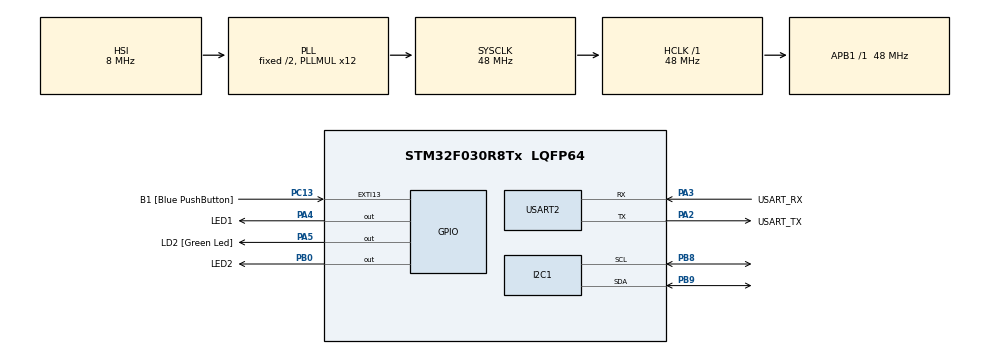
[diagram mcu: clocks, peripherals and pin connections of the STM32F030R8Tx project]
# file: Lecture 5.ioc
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Dma.Request0=USART2_RX
Dma.USART2_RX.0.Direction=DMA_PERIPH_TO_MEMORY
Dma.USART2_RX.0.Instance=DMA1_Channel5
Dma.USART2_RX.0.MemDataAlignment=DMA_MDATAALIGN_BYTE
Dma.USART2_RX.0.MemInc=DMA_MINC_ENABLE
Dma.USART2_RX.0.Mode=DMA_CIRCULAR
Dma.USART2_RX.0.PeriphDataAlignment=DMA_PDATAALIGN_BYTE
Dma.USART2_RX.0.PeriphInc=DMA_PINC_DISABLE
Dma.USART2_RX.0.Priority=DMA_PRIORITY_LOW
I2C1.Timing=0x00201D2B
Mcu.Family=STM32F0
Mcu.Name=STM32F030R8Tx
Mcu.Package=LQFP64
NVIC.DMA1_Channel4_5_IRQn=true\:0\:0\:false\:false\:true\:false\:true\:true
PA13.GPIO_Label=TMS
PA13.Mode=Serial_Wire
PA13.Signal=SYS_SWDIO
PA14.GPIO_Label=TCK
PA14.Mode=Serial_Wire
PA14.Signal=SYS_SWCLK
PA2.GPIO_Label=USART_TX
PA2.GPIO_Mode=GPIO_MODE_AF_PP
PA2.GPIO_PuPd=GPIO_NOPULL
PA2.GPIO_Speed=GPIO_SPEED_FREQ_LOW
PA2.Mode=Asynchronous
PA2.Signal=USART2_TX
PA3.GPIO_Label=USART_RX
PA3.GPIO_Mode=GPIO_MODE_AF_PP
PA3.GPIO_PuPd=GPIO_NOPULL
PA3.GPIO_Speed=GPIO_SPEED_FREQ_LOW
PA3.Mode=Asynchronous
PA3.Signal=USART2_RX
PA4.GPIO_Label=LED1
PA4.Signal=GPIO_Output
PA5.GPIO_Label=LD2 [Green Led]
PA5.GPIO_Mode=GPIO_MODE_OUTPUT_PP
PA5.GPIO_PuPd=GPIO_NOPULL
PA5.GPIO_Speed=GPIO_SPEED_FREQ_LOW
PA5.Signal=GPIO_Output
PB0.GPIO_Label=LED2
PB0.Signal=GPIO_Output
PB8.Mode=I2C
PB8.Signal=I2C1_SCL
PB9.Mode=I2C
PB9.Signal=I2C1_SDA
PC13.GPIO_Label=B1 [Blue PushButton]
PC13.GPIO_ModeDefaultEXTI=GPIO_MODE_IT_FALLING
PC13.Signal=GPXTI13
PC14-OSC32_IN.Mode=LSE-External-Oscillator
PC14-OSC32_IN.Signal=RCC_OSC32_IN
PC15-OSC32_OUT.Mode=LSE-External-Oscillator
PC15-OSC32_OUT.Signal=RCC_OSC32_OUT
PF0-OSC_IN.Mode=HSE-External-Clock-Source
PF0-OSC_IN.Signal=RCC_OSC_IN
PF1-OSC_OUT.Signal=RCC_OSC_OUT
ProjectManager.HeapSize=0x200
ProjectManager.StackSize=0x400
ProjectManager.TargetToolchain=STM32CubeIDE
RCC.AHBFreq_Value=48000000
RCC.APB1Freq_Value=48000000
RCC.APB1TimFreq_Value=48000000
RCC.HCLKFreq_Value=48000000
RCC.PLLMUL=RCC_PLL_MUL12
RCC.SYSCLKFreq_VALUE=48000000
RCC.SYSCLKSource=RCC_SYSCLKSOURCE_PLLCLK
USART2.VirtualMode-Asynchronous=VM_ASYNC
board=NUCLEO-F030R8

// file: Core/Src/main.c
/* USER CODE BEGIN Header */
/**
  ******************************************************************************
  * @file           : main.c
  * @brief          : Main program body
  ******************************************************************************
  * @attention
  *
  * Copyright (c) 2024 STMicroelectronics.
  * All rights reserved.
  *
  * This software is licensed under terms that can be found in the LICENSE file
  * in the root directory of this software component.
  * If no LICENSE file comes with this software, it is provided AS-IS.
  *
  ******************************************************************************
  */
/* USER CODE END Header */
#include "main.h"

/* USER CODE BEGIN Includes */
#include <stdio.h>
#include <string.h>
#include <stdlib.h>
/* USER CODE END Includes */

/* USER CODE BEGIN PD */
#define RX_BUF_LEN 64
#define CMD_BUF_LEN 64
#define uart_rx_write_ptr (RX_BUF_LEN - hdma_usart2_rx.Instance->CNDTR)
#define EEPROM_ADDR 0xA0
/* USER CODE END PD */

I2C_HandleTypeDef hi2c1;

UART_HandleTypeDef huart2;
DMA_HandleTypeDef hdma_usart2_rx;

/* USER CODE BEGIN PV */
static uint8_t uart_rx_buf[RX_BUF_LEN];
static volatile uint16_t uart_rx_read_ptr = 0;
/* USER CODE END PV */

void SystemClock_Config(void);
static void MX_GPIO_Init(void);
static void MX_DMA_Init(void);
static void MX_USART2_UART_Init(void);
static void MX_I2C1_Init(void);

/* USER CODE BEGIN 0 */

int _write(int file, char const *buf, int n) {
	HAL_UART_Transmit(&huart2, (uint8_t*)(buf), n, HAL_MAX_DELAY);
	return n;
}

static void uart_process_command(const char* data) {

	// printf("prijato: '%s'\n", data);

	char *token;
	token = strtok(data, " ");

	if (strcasecmp(token, "HELLO") == 0) {
		printf("Komunikace OK\n");

	} else if (strcasecmp(token, "LED1") == 0) {
		token = strtok(NULL, " ");

		if (strcasecmp(token, "ON") == 0)
		{
			HAL_GPIO_WritePin(LED1_GPIO_Port, LED1_Pin, 1);

		}
		else if (strcasecmp(token, "OFF")==0) {
			HAL_GPIO_WritePin(LED1_GPIO_Port, LED1_Pin, 0);
		}
		else {

			printf("ERROR\n");
		}

	}
	else if (strcasecmp(token, "LED2") == 0) {
		token = strtok(NULL, " ");

		if (strcasecmp(token, "ON") == 0) {
			HAL_GPIO_WritePin(LED2_GPIO_Port, LED2_Pin, 1);

		} else if (strcasecmp(token, "OFF")==0) {
			HAL_GPIO_WritePin(LED2_GPIO_Port, LED2_Pin, 0);
		} else {

			printf("ERROR\n");
		}

	} else if (strcasecmp(token, "STATUS") == 0) {
		uint8_t led1stat;
		uint8_t led2stat;
		token = strtok(NULL, " ");

		led1stat = HAL_GPIO_ReadPin(LED1_GPIO_Port, LED1_Pin);
		printf("LED1 is: %d  \n", led1stat);

		led2stat = HAL_GPIO_ReadPin(LED2_GPIO_Port, LED1_Pin);
		printf("LED2 is: %d  \n", led2stat);

	} else if (strcasecmp(token, "READ") == 0) {
		token = strtok(NULL, " ");
		uint8_t value;
		uint16_t addr = atoi(token);

		HAL_I2C_Mem_Read(&hi2c1, EEPROM_ADDR, addr, I2C_MEMADD_SIZE_16BIT, &value, sizeof(value), 1000);
		printf("Addr 0x%02X: 0x%02X\n", addr, value);

	} else if (strcasecmp(token, "WRITE") == 0) {
		token = strtok(NULL, " ");
		uint8_t value;
		uint16_t addr = atoi(token);
		token = strtok(NULL, " ");
		value = atoi(token);

		HAL_I2C_Mem_Write(&hi2c1, EEPROM_ADDR, addr, I2C_MEMADD_SIZE_16BIT, &value, 1, 1000);
		while (HAL_I2C_IsDeviceReady(&hi2c1, EEPROM_ADDR, 300, 1000) == HAL_TIMEOUT) {}
		printf("OK \n");

	} else if (strcasecmp(token, "DUMP") == 0) {
		token = strtok(NULL, " ");
		uint8_t value_dump[16];
		uint16_t addr = atoi(token);

		for(uint8_t i=0; i<16; i++) {
			HAL_I2C_Mem_Read(&hi2c1, EEPROM_ADDR, i, I2C_MEMADD_SIZE_16BIT, &value_dump[i], 1, 1000);
		}

		for(int j=1; j<=2; j++) {
			for(int k=1; k< 9; k++) {
				printf(" %02x", value_dump[j*k-1]);
			}
			printf("\n");
		}

	}
}

static void uart_byte_available(uint8_t c)
{
	static uint16_t cnt;
	static char data[CMD_BUF_LEN];
	if (cnt < CMD_BUF_LEN && c >= 32 && c <= 126) data[cnt++] = c;
	if ((c == '\n' || c == '\r') && cnt > 0) {
		data[cnt] = '\0';
		uart_process_command(data);
		cnt = 0;
	}
}

/* USER CODE END 0 */

int main(void)
{

  /* MCU Configuration--------------------------------------------------------*/

  /* Reset of all peripherals, Initializes the Flash interface and the Systick. */
  HAL_Init();

  /* Configure the system clock */
  SystemClock_Config();

  /* Initialize all configured peripherals */
  MX_GPIO_Init();
  MX_DMA_Init();
  MX_USART2_UART_Init();
  MX_I2C1_Init();
  /* USER CODE BEGIN 2 */

  HAL_UART_Receive_DMA(&huart2, uart_rx_buf, RX_BUF_LEN);
  /* USER CODE END 2 */

  /* Infinite loop */
  /* USER CODE BEGIN WHILE */
  while (1)
  {
	  while (uart_rx_read_ptr != uart_rx_write_ptr) {
	   uint8_t b = uart_rx_buf[uart_rx_read_ptr];
	   if (++uart_rx_read_ptr >= RX_BUF_LEN) uart_rx_read_ptr = 0; // increase read pointer
	   uart_byte_available(b); // process every received byte with the RX state machine
	  }
    /* USER CODE END WHILE */

  }
}

void SystemClock_Config(void)
{
  RCC_OscInitTypeDef RCC_OscInitStruct = {0};
  RCC_ClkInitTypeDef RCC_ClkInitStruct = {0};
  RCC_PeriphCLKInitTypeDef PeriphClkInit = {0};

  /** Initializes the RCC Oscillators according to the specified parameters
  * in the RCC_OscInitTypeDef structure.
  */
  RCC_OscInitStruct.OscillatorType = RCC_OSCILLATORTYPE_HSI;
  RCC_OscInitStruct.HSIState = RCC_HSI_ON;
  RCC_OscInitStruct.HSICalibrationValue = RCC_HSICALIBRATION_DEFAULT;
  RCC_OscInitStruct.PLL.PLLState = RCC_PLL_ON;
  RCC_OscInitStruct.PLL.PLLSource = RCC_PLLSOURCE_HSI;
  RCC_OscInitStruct.PLL.PLLMUL = RCC_PLL_MUL12;
  RCC_OscInitStruct.PLL.PREDIV = RCC_PREDIV_DIV1;
  if (HAL_RCC_OscConfig(&RCC_OscInitStruct) != HAL_OK)
  {
    Error_Handler();
  }

  /** Initializes the CPU, AHB and APB buses clocks
  */
  RCC_ClkInitStruct.ClockType = RCC_CLOCKTYPE_HCLK|RCC_CLOCKTYPE_SYSCLK
                              |RCC_CLOCKTYPE_PCLK1;
  RCC_ClkInitStruct.SYSCLKSource = RCC_SYSCLKSOURCE_PLLCLK;
  RCC_ClkInitStruct.AHBCLKDivider = RCC_SYSCLK_DIV1;
  RCC_ClkInitStruct.APB1CLKDivider = RCC_HCLK_DIV1;

  if (HAL_RCC_ClockConfig(&RCC_ClkInitStruct, FLASH_LATENCY_1) != HAL_OK)
  {
    Error_Handler();
  }
  PeriphClkInit.PeriphClockSelection = RCC_PERIPHCLK_I2C1;
  PeriphClkInit.I2c1ClockSelection = RCC_I2C1CLKSOURCE_HSI;
  if (HAL_RCCEx_PeriphCLKConfig(&PeriphClkInit) != HAL_OK)
  {
    Error_Handler();
  }
}

static void MX_I2C1_Init(void)
{

  hi2c1.Instance = I2C1;
  hi2c1.Init.Timing = 0x00201D2B;
  hi2c1.Init.OwnAddress1 = 0;
  hi2c1.Init.AddressingMode = I2C_ADDRESSINGMODE_7BIT;
  hi2c1.Init.DualAddressMode = I2C_DUALADDRESS_DISABLE;
  hi2c1.Init.OwnAddress2 = 0;
  hi2c1.Init.OwnAddress2Masks = I2C_OA2_NOMASK;
  hi2c1.Init.GeneralCallMode = I2C_GENERALCALL_DISABLE;
  hi2c1.Init.NoStretchMode = I2C_NOSTRETCH_DISABLE;
  if (HAL_I2C_Init(&hi2c1) != HAL_OK)
  {
    Error_Handler();
  }

  /** Configure Analogue filter
  */
  if (HAL_I2CEx_ConfigAnalogFilter(&hi2c1, I2C_ANALOGFILTER_ENABLE) != HAL_OK)
  {
    Error_Handler();
  }

  /** Configure Digital filter
  */
  if (HAL_I2CEx_ConfigDigitalFilter(&hi2c1, 0) != HAL_OK)
  {
    Error_Handler();
  }

}

static void MX_USART2_UART_Init(void)
{

  huart2.Instance = USART2;
  huart2.Init.BaudRate = 38400;
  huart2.Init.WordLength = UART_WORDLENGTH_8B;
  huart2.Init.StopBits = UART_STOPBITS_1;
  huart2.Init.Parity = UART_PARITY_NONE;
  huart2.Init.Mode = UART_MODE_TX_RX;
  huart2.Init.HwFlowCtl = UART_HWCONTROL_NONE;
  huart2.Init.OverSampling = UART_OVERSAMPLING_16;
  huart2.Init.OneBitSampling = UART_ONE_BIT_SAMPLE_DISABLE;
  huart2.AdvancedInit.AdvFeatureInit = UART_ADVFEATURE_NO_INIT;
  if (HAL_UART_Init(&huart2) != HAL_OK)
  {
    Error_Handler();
  }

}

static void MX_DMA_Init(void)
{

  /* DMA controller clock enable */
  __HAL_RCC_DMA1_CLK_ENABLE();

  /* DMA interrupt init */
  /* DMA1_Channel4_5_IRQn interrupt configuration */
  HAL_NVIC_SetPriority(DMA1_Channel4_5_IRQn, 0, 0);
  HAL_NVIC_EnableIRQ(DMA1_Channel4_5_IRQn);

}

static void MX_GPIO_Init(void)
{
  GPIO_InitTypeDef GPIO_InitStruct = {0};

  /* GPIO Ports Clock Enable */
  __HAL_RCC_GPIOC_CLK_ENABLE();
  __HAL_RCC_GPIOF_CLK_ENABLE();
  __HAL_RCC_GPIOA_CLK_ENABLE();
  __HAL_RCC_GPIOB_CLK_ENABLE();

  /*Configure GPIO pin Output Level */
  HAL_GPIO_WritePin(GPIOA, LED1_Pin|LD2_Pin, GPIO_PIN_RESET);

  /*Configure GPIO pin Output Level */
  HAL_GPIO_WritePin(LED2_GPIO_Port, LED2_Pin, GPIO_PIN_RESET);

  /*Configure GPIO pin : B1_Pin */
  GPIO_InitStruct.Pin = B1_Pin;
  GPIO_InitStruct.Mode = GPIO_MODE_IT_FALLING;
  GPIO_InitStruct.Pull = GPIO_NOPULL;
  HAL_GPIO_Init(B1_GPIO_Port, &GPIO_InitStruct);

  /*Configure GPIO pins : LED1_Pin LD2_Pin */
  GPIO_InitStruct.Pin = LED1_Pin|LD2_Pin;
  GPIO_InitStruct.Mode = GPIO_MODE_OUTPUT_PP;
  GPIO_InitStruct.Pull = GPIO_NOPULL;
  GPIO_InitStruct.Speed = GPIO_SPEED_FREQ_LOW;
  HAL_GPIO_Init(GPIOA, &GPIO_InitStruct);

  /*Configure GPIO pin : LED2_Pin */
  GPIO_InitStruct.Pin = LED2_Pin;
  GPIO_InitStruct.Mode = GPIO_MODE_OUTPUT_PP;
  GPIO_InitStruct.Pull = GPIO_NOPULL;
  GPIO_InitStruct.Speed = GPIO_SPEED_FREQ_LOW;
  HAL_GPIO_Init(LED2_GPIO_Port, &GPIO_InitStruct);

}

void Error_Handler(void)
{
  __disable_irq();
  while (1)
  {
  }
}
